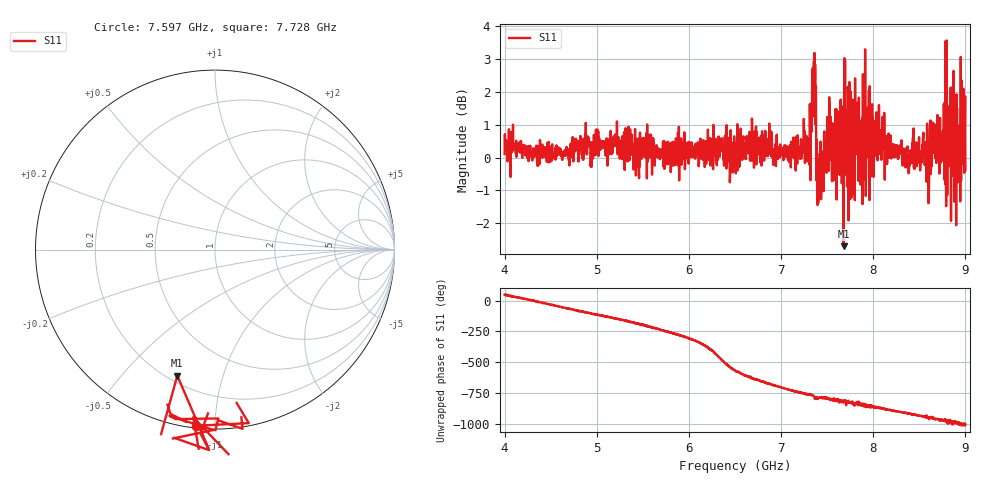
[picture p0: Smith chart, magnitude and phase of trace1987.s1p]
! Created with skrf 1.8.0 (http://scikit-rf.org).
# Hz S RI R 50.0
!freq ReS11 ImS11
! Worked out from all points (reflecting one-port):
!   1601 points, 4 GHz to 9 GHz, reference 50 ohm
!   lowest |S11| = -2.7 dB at 7.678 GHz (marker M1), VSWR 6.49, Z = 11.8 - j35.9 ohm
!   phase of S11 starts at 48 deg and turns -1052 deg over the sweep
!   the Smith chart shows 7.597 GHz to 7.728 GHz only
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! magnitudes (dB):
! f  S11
! 4 GHz  0.1
! 4.625 GHz  -0.1
! 5.25 GHz  0.0
! 5.875 GHz  0.3
! 6.5 GHz  0.1
! 7.125 GHz  0.5
! 7.294 GHz  0.0
! 7.353 GHz  1.8
! 7.4 GHz  -0.1
! 7.416 GHz  -0.8
! 7.525 GHz  1.6
! 7.616 GHz  -0.5
! 7.678 GHz  -2.7
! 7.709 GHz  1.4
! 7.75 GHz  -1.3
! 7.775 GHz  0.7
! 7.822 GHz  0.9
! 7.859 GHz  1.1
! 7.891 GHz  0.4
! 7.981 GHz  -0.6
! 8.047 GHz  -0.1
! 8.375 GHz  -0.2
! 8.562 GHz  0.0
! 8.581 GHz  -0.4
! 8.809 GHz  1.6
! 8.919 GHz  -0.4
! 8.972 GHz  0.5
! 9 GHz  -0.4
